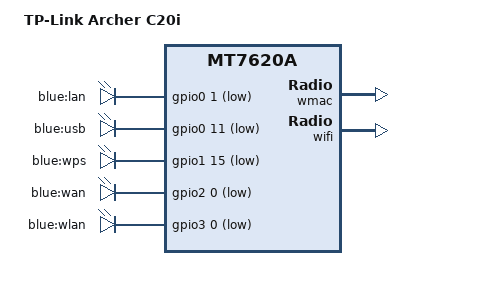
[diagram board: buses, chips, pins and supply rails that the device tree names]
#include "mt7620a_tplink_archer.dtsi"

/ {
	compatible = "tplink,archer-c20i", "ralink,mt7620a-soc";
	model = "TP-Link Archer C20i";

	aliases {
		led-boot = &led_wps;
		led-failsafe = &led_wps;
		led-running = &led_wps;
		led-upgrade = &led_wps;
		label-mac-device = &ethernet;
	};

	leds {
		compatible = "gpio-leds";

		lan {
			label = "blue:lan";
			gpios = <&gpio0 1 GPIO_ACTIVE_LOW>;
		};

		usb {
			label = "blue:usb";
			gpios = <&gpio0 11 GPIO_ACTIVE_LOW>;
			trigger-sources = <&ohci_port1>, <&ehci_port1>;
			linux,default-trigger = "usbport";
		};

		led_wps: wps {
			label = "blue:wps";
			gpios = <&gpio1 15 GPIO_ACTIVE_LOW>;
		};

		wan {
			label = "blue:wan";
			gpios = <&gpio2 0 GPIO_ACTIVE_LOW>;
		};

		wlan {
			label = "blue:wlan";
			gpios = <&gpio3 0 GPIO_ACTIVE_LOW>;
			linux,default-trigger = "phy1tpt";
		};
	};
};

&state_default {
	gpio {
		groups = "i2c", "uartf", "rgmii1", "rgmii2", "wled", "nd_sd", "ephy", "spi refclk";
		function = "gpio";
	};
};

&wmac {
	mtd-mac-address = <&rom 0xf100>;
};

&wifi {
	mtd-mac-address = <&rom 0xf100>;
	mtd-mac-address-increment = <(-1)>;
};
